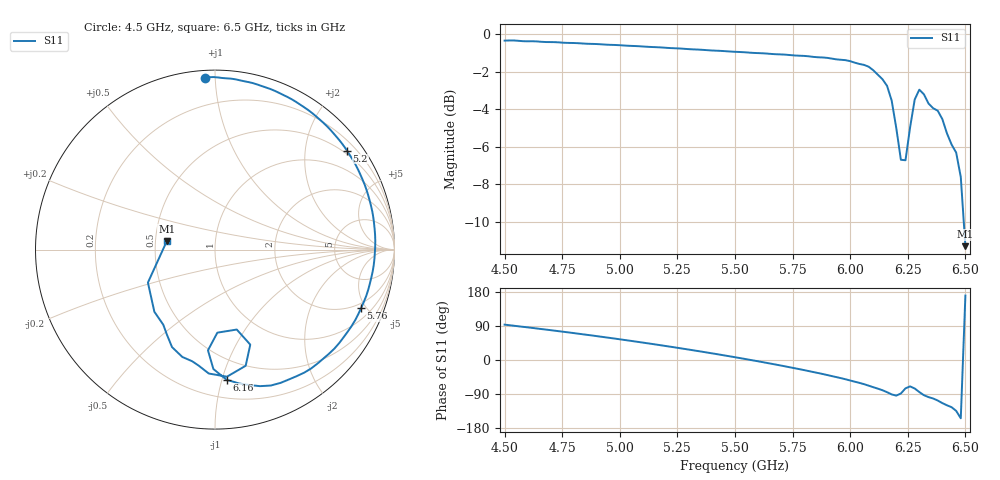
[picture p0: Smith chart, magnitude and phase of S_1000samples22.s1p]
! TOUCHSTONE file generated by CST MICROWAVE STUDIO
! Date and time: Wed Oct 26 17:37:59 2022
! Project name: L.cst
! Parameters = {Di=1.27; Epsilon_r=1.56; InnerDiameter=1.27; Length=2; Lf=10; Lg=60; OuterConductorThickness=0.2921; OuterDiameter=3.6; Wf=3; Wp=41.2; de=1.5; df=6.8; g=0.8; gx=3.59002; gy=3.86138; h=2.34; hf=1.524; px=9.08217; py=14.6648; w=9.7; wx=5.49215; wy=10.8034}
! Header version: 2018
! Port assignment regex: !\s*Touchstone port\s*([0-9]+)\s*=\s*(CST MWS port|CST DS port)\s*([0-9]+|Zmin|Zmax)\s*\(\"(.*)\"\)(\s*mode\s*([0-9]+))?.*
! Touchstone port assignment:
! Touchstone port 1 = CST MWS port 1 ("")
# GHz S DB R 50
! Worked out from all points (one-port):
!   101 points, 4.5 GHz to 6.5 GHz, reference 50 ohm
!   lowest |S11| = -11.3 dB at 6.5 GHz (marker M1), VSWR 1.75, Z = 28.7 + j2.91 ohm
!   |S11| at or under -10 dB: 6.493013 GHz to end of sweep
!   S11 on the Smith chart (normalised r, x): 4.5 GHz: 0.04, +0.94; 5.2 GHz: 0.42, +2.95; 5.76 GHz: 1.64, -4.63; 6.16 GHz: 0.34, -1.03; 6.5 GHz: 0.57, +0.06
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4.5  -0.35 93.3
4.62  -0.38 84.7
4.76  -0.47 74.1
5  -0.60 54.6
5.2  -0.73 36.9
5.26  -0.77 31.3
5.38  -0.86 19.6
5.5  -0.95 7.3
5.62  -1.03 -5.6
5.76  -1.14 -21.8
5.88  -1.25 -36.9
6  -1.44 -54.1
6.08  -1.74 -67.7
6.16  -2.76 -84.9
6.18  -3.54 -90.8
6.2  -5.00 -94.0
6.22  -6.69 -88.4
6.24  -6.71 -74.8
6.26  -4.96 -69.6
6.28  -3.49 -75.2
6.3  -2.96 -84.6
6.32  -3.21 -92.9
6.38  -4.08 -107.0
6.4  -4.53 -113.8
6.44  -5.88 -124.5
6.46  -6.31 -134.3
6.48  -7.61 -153.8
6.5  -11.28 170.1
